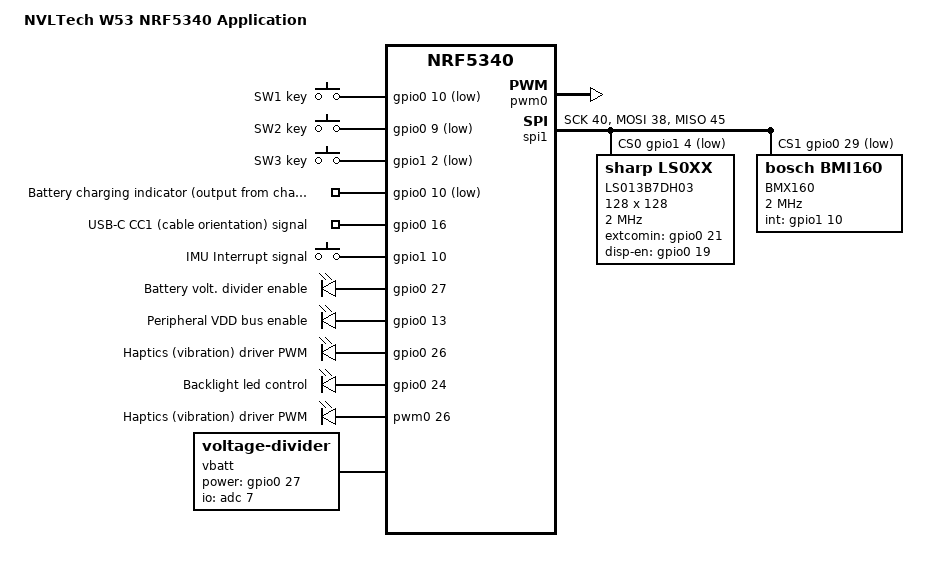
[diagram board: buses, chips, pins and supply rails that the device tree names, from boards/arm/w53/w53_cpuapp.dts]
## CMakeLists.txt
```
# Find Zephyr. This also loads Zephyr's build system.
cmake_minimum_required(VERSION 3.13.1)

list(APPEND BOARD_ROOT ${CMAKE_CURRENT_SOURCE_DIR})
set(BOARD w53_cpuapp)

find_package(Zephyr HINTS $ENV{ZEPHYR_BASE})

project(rgbwatch)

set(CMAKE_BUILD_TYPE Release)

set(APP_SRC
  src/main.c
  src/disp.c
  src/clock.c
  src/accel.c
  src/screen.c
  src/pinmux.c
  src/board.c
  src/state.c
  src/stopwatch.c
  src/countdown.c
  src/motor.c
  src/ble.c
  src/cts.c
  src/calendar.c
  src/alarm.c
  )

set(APP_INCLUDE
  include
  )

target_sources(app PRIVATE ${APP_SRC})
target_include_directories(app PRIVATE ${APP_INCLUDE})
```

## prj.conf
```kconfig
CONFIG_PINMUX=y
CONFIG_GPIO=y
CONFIG_PWM=y
CONFIG_ADC=y

CONFIG_SPI=y
# Display driver
CONFIG_DISPLAY=y
CONFIG_LS0XX=y
CONFIG_DISPLAY_LOG_LEVEL_DBG=y
# IMU driver
CONFIG_SENSOR=y
CONFIG_BMI160=y
CONFIG_BMI160_TRIGGER_NONE=y
CONFIG_BMI160_ACCEL_PMU_NORMAL=y
CONFIG_BMI160_ACCEL_RANGE_2G=y
CONFIG_BMI160_ACCEL_ODR_100=y
CONFIG_BMI160_GYRO_PMU_NORMAL=y
CONFIG_BMI160_GYRO_RANGE_2000DPS=y
CONFIG_BMI160_GYRO_ODR_100=y
CONFIG_SENSOR_LOG_LEVEL_DBG=y

CONFIG_LOG=y
CONFIG_LOG_PRINTK=y
CONFIG_LOG_DEFAULT_LEVEL=3
CONFIG_LOG_BACKEND_UART=n
CONFIG_USE_SEGGER_RTT=y
CONFIG_LOG_BACKEND_RTT=y
CONFIG_LOG_BUFFER_SIZE=16384
CONFIG_RTT_CONSOLE=y

CONFIG_UART_CONSOLE=n
CONFIG_SERIAL=n

CONFIG_BT=y
CONFIG_BT_PERIPHERAL=y
CONFIG_BT_SMP=y
CONFIG_BT_PRIVACY=y
CONFIG_BT_SIGNING=y
# CONFIG_BT_SMP_SC_ONLY=y
CONFIG_BT_SMP_SC_PAIR_ONLY=y
CONFIG_BT_TINYCRYPT_ECC=y
CONFIG_BT_MAX_PAIRED=2
CONFIG_BT_DEVICE_NAME="W53"
# Watch appearance
CONFIG_BT_DEVICE_APPEARANCE=192
# Enable the LBS service
CONFIG_BT_LBS=y
CONFIG_BT_LBS_POLL_BUTTON=y
# Needed because of mcumgr bug
# CONFIG_BT_L2CAP_TX_MTU=252
# CONFIG_BT_L2CAP_RX_MTU=252
# CONFIG_BT_RX_BUF_LEN=260

# Allow configuring conn interval by phone
CONFIG_BT_GAP_PERIPHERAL_PREF_PARAMS=y

# Allow triggering MTU exchange
CONFIG_BT_GATT_CLIENT=y

# Display library
CONFIG_HEAP_MEM_POOL_SIZE=16384
CONFIG_MAIN_STACK_SIZE=4096
CONFIG_LVGL=y
CONFIG_LV_USE_LABEL=y
CONFIG_LV_USE_BTN=y
# Kconfig option seems to have disappeared, but the theme
# is still there, maybe a bug that sneaked in.

# Hardware-specific
CONFIG_LV_Z_VDB_SIZE=16
CONFIG_LV_Z_BITS_PER_PIXEL=1
CONFIG_LV_COLOR_DEPTH_1=y
```

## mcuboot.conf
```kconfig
# Config lifted from
# ~/Software/ncs/nrf/applications/nrf_desktop/configuration/nrf52840dk_nrf52840/mcuboot_ZDebugMCUBootSMP.conf
CONFIG_SIZE_OPTIMIZATIONS=y

# Disable memory guard to avoid false faults in application after boot
CONFIG_HW_STACK_PROTECTION=n

CONFIG_SYSTEM_CLOCK_DISABLE=y
CONFIG_SYS_POWER_MANAGEMENT=n

CONFIG_BOOT_MAX_IMG_SECTORS=256
CONFIG_BOOT_BOOTSTRAP=n
CONFIG_BOOT_SIGNATURE_TYPE_ECDSA_P256=y
CONFIG_BOOT_SIGNATURE_KEY_FILE="dfu_key_p256.pem"

CONFIG_FLASH=y
CONFIG_BOOT_ERASE_PROGRESSIVELY=y
CONFIG_SOC_FLASH_NRF_EMULATE_ONE_BYTE_WRITE_ACCESS=y

CONFIG_USE_SEGGER_RTT=y
CONFIG_LOG=y
CONFIG_LOG_DEFAULT_LEVEL=2
CONFIG_LOG_MAX_LEVEL=3
CONFIG_LOG_PRINTK=y
CONFIG_LOG_MODE_IMMEDIATE=y
CONFIG_LOG_BACKEND_SHOW_COLOR=n
CONFIG_LOG_BACKEND_FORMAT_TIMESTAMP=n
```

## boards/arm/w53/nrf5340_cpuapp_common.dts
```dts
/*
 * Copyright (c) 2019-2020 Nordic Semiconductor ASA
 *
 * SPDX-License-Identifier: Apache-2.0
 */

/ {

	chosen {
		zephyr,console = &uart0;
		zephyr,shell-uart = &uart0;
		zephyr,uart-mcumgr = &uart0;
		zephyr,bt-mon-uart = &uart0;
		zephyr,bt-c2h-uart = &uart0;
		zephyr,bt-hci-rpmsg-ipc = &ipc0;
	};

};

&adc {
	status = "okay";
};

&gpiote {
	status = "okay";
};

&gpio0 {
	status = "okay";
};

&gpio1 {
	status = "okay";
};

&uart0 {
	/* Not connected to anything.
	*  Can use GPIOs P1.02 and P0.09 but shared with SW2 and SW3 */
	status = "okay";
	current-speed = <115200>;
	tx-pin = <14>;
	rx-pin = <15>;
};

&timer0 {
	status = "okay";
};

&timer1 {
	status = "okay";
};

&timer2 {
	status = "okay";
};

&flash0 {

	partitions {
		compatible = "fixed-partitions";
		#address-cells = <1>;
		#size-cells = <1>;

		boot_partition: partition@0 {
			label = "mcuboot";
			reg = <0x00000000 0x00010000>;
		};
		slot0_partition: partition@10000 {
			label = "image-0";
		};
		slot0_ns_partition: partition@50000 {
			label = "image-0-nonsecure";
		};
		slot1_partition: partition@80000 {
			label = "image-1";
		};
		slot1_ns_partition: partition@c0000 {
			label = "image-1-nonsecure";
		};
		scratch_partition: partition@f0000 {
			label = "image-scratch";
			reg = <0x000f0000 0xa000>;
		};
		storage_partition: partition@fa000 {
			label = "storage";
			reg = <0x000fa000 0x00006000>;
		};
	};
};

/ {

	reserved-memory {
		#address-cells = <1>;
		#size-cells = <1>;
		ranges;

		sram0_image: image@20000000 {
			/* Zephyr image(s) memory */
		};

		sram0_s: image_s@20000000 {
			/* Secure image memory */
		};

		sram0_ns: image_ns@20040000 {
			/* Non-Secure image memory */
		};
	};
};

/* Include partition configuration file */
#include "nrf5340_cpuapp_partition_conf.dts"
```

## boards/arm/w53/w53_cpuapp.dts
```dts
/*
 * Copyright (c) 2020 Nordic Semiconductor ASA
 *
 * SPDX-License-Identifier: Apache-2.0
 */

/dts-v1/;
#include <nordic/nrf5340_cpuapp_qkaa.dtsi>
#include "nrf5340_cpuapp_common.dts"

/ {
	model = "NVLTech W53 NRF5340 Application";
	compatible = "w53-cpuapp";

	chosen {
		zephyr,display = &ls0xx;
		zephyr,sram = &sram0_image;
		zephyr,flash = &flash0;
		zephyr,code-partition = &slot0_partition;
		zephyr,sram-secure-partition = &sram0_s;
		zephyr,sram-non-secure-partition = &sram0_ns;
	};

	buttons {
		compatible = "gpio-keys";
		button0: button_0 {
			/* Lower right */
			gpios = <&gpio0 10 (GPIO_PULL_UP | GPIO_ACTIVE_LOW)>;
			label = "SW1 key";
		};
		button1: button_1 {
			/* Upper right */
			gpios = <&gpio0 9 (GPIO_PULL_UP | GPIO_ACTIVE_LOW)>;
			label = "SW2 key";
		};
		button2: button_2 {
			/* Upper left */
			gpios = <&gpio1 2 (GPIO_PULL_UP | GPIO_ACTIVE_LOW)>;
			label = "SW3 key";
		};
	};

	board_inputs {
		/* TODO: maybe change compatible ? */
		compatible = "gpio-keys";
		chg_state: chg_state {
			gpios = <&gpio0 10 (GPIO_PULL_UP | GPIO_ACTIVE_LOW)>;
			label = "Battery charging indicator (output from charger)";
			/* Shared with SW1 */
		};
		usb_cc1: usb_cc1 {
			gpios = <&gpio0 16 GPIO_ACTIVE_HIGH>;
			label = "USB-C CC1 (cable orientation) signal";
		};
		imu_irq: imu_irq {
			gpios = <&gpio1 10 GPIO_ACTIVE_HIGH>;
			label = "IMU Interrupt signal";
		};
	};

	board_outputs {
		/* TODO: maybe change compatible ? */
		compatible = "gpio-leds";
		batmon_en: batmon_en {
			gpios = <&gpio0 27 GPIO_ACTIVE_HIGH>;
			label = "Battery volt. divider enable";
		};
		periph_en: periph_en {
			gpios = <&gpio0 13 GPIO_ACTIVE_HIGH>;
			label = "Peripheral VDD bus enable";
		};
		motor: motor {
			gpios = <&gpio0 26 GPIO_ACTIVE_HIGH>;
			label = "Haptics (vibration) driver PWM";
		};
		disp_led: disp_led {
			gpios = <&gpio0 24 GPIO_ACTIVE_HIGH>;
			label = "Backlight led control";
		};
	};

	board_pwm {
		compatible = "pwm-leds";
		hapt_pwm: hapt_pwm {
			pwms = <&pwm0 26 PWM_MSEC(20) PWM_POLARITY_INVERTED>;
			label = "Haptics (vibration) driver PWM";
		};
	};

   	vbatt {
   		compatible = "voltage-divider";
   		io-channels = <&adc 7>; /* GPIO 0:28 */
   		output-ohms = <10000>;
   		full-ohms = <(10000 + 10000)>;
   		power-gpios = <&gpio0 27 GPIO_ACTIVE_HIGH>;
   	};

	aliases {
		sw0 = &button0;
		sw1 = &button1;
		sw2 = &button2;
		usbd0 = &usbd;
	};
};

&pwm0 {
	status = "okay";
	ch0-pin = <26>;
};

&spi1 {
	compatible = "nordic,nrf-spim";
	status = "okay";
	sck-pin = <40>;				/* P1.08 */
	miso-pin = <45>;			/* P1.13 */
	mosi-pin = <38>;			/* P1.06 */

	cs-gpios = <&gpio1 4 GPIO_ACTIVE_LOW>, /* Display */
				<&gpio0 29 GPIO_ACTIVE_LOW>; /* IMU */

	ls0xx: ls0xx@0 {
		compatible = "sharp,ls0xx";
		label = "LS013B7DH03";
		spi-max-frequency = <2000000>;
		reg = <0>;
		width = <128>;
		height = <128>;
		extcomin-gpios = <&gpio0 21 GPIO_ACTIVE_HIGH>;
		extcomin-frequency = <60>;
		disp-en-gpios = <&gpio0 19 GPIO_ACTIVE_HIGH>;
	};

	bmx160@1 {
		/* BMX160 seems to be register-compatible with BMI160 */
		compatible = "bosch,bmi160";
		label = "BMX160";
		reg = <1>;
		spi-max-frequency = <2000000>;
		int-gpios = <&gpio1 10 GPIO_ACTIVE_HIGH>;
	};
};

&usbd {
	compatible = "nordic,nrf-usbd";
	/* status = "okay"; */
};
```

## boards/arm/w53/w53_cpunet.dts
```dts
/*
 * Copyright (c) 2020 Nordic Semiconductor ASA
 *
 * SPDX-License-Identifier: Apache-2.0
 */

/dts-v1/;
#include <nordic/nrf5340_cpunet_qkaa.dtsi>

/ {
	model = "NVLTech W53 NRF5340 Network";
	compatible = "w53-cpunet";

	chosen {
		zephyr,console = &uart0;
		zephyr,shell-uart = &uart0;
		zephyr,uart-mcumgr = &uart0;
		zephyr,bt-mon-uart = &uart0;
		zephyr,bt-c2h-uart = &uart0;
		zephyr,bt-hci-rpmsg-ipc = &ipc0;
		zephyr,sram = &sram1;
		zephyr,flash = &flash1;
		zephyr,code-partition = &slot0_partition;
	};
};

&gpiote {
	status = "okay";
};

&gpio0 {
	status = "okay";
};

&gpio1 {
	status = "okay";
};

&uart0 {
	/* Not connected to anything, just here so samples don't freak out. */
	status = "okay";
	current-speed = <115200>;
	tx-pin = <4>;
	rx-pin = <5>;
	rts-pin = <6>;
	cts-pin = <7>;
};

&timer0 {
	status = "okay";
};

&timer1 {
	status = "okay";
};

&timer2 {
	status = "okay";
};

&flash1 {

	partitions {
		compatible = "fixed-partitions";
		#address-cells = <1>;
		#size-cells = <1>;

		boot_partition: partition@0 {
			label = "mcuboot";
			reg = <0x00000000 0xc000>;
		};
		slot0_partition: partition@c000 {
			label = "image-0";
			reg = <0x0000C000 0x12000>;
		};
		slot1_partition: partition@1e000 {
			label = "image-1";
			reg = <0x0001E000 0x12000>;
		};
		scratch_partition: partition@30000 {
			label = "image-scratch";
			reg = <0x00030000 0xa000>;
		};
		storage_partition: partition@3a000 {
			label = "storage";
			reg = <0x0003a000 0x6000>;
		};
	};
};

/* Include shared RAM configuration file */
#include "nrf5340_shared_sram_planning_conf.dts"
```

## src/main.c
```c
#include <zephyr/kernel.h>
#include <zephyr/device.h>
#include <zephyr/devicetree.h>
#include <zephyr/drivers/gpio.h>
#include <zephyr/drivers/display.h>

#include <string.h>
#include <lvgl.h>

#include "disp.h"
#include "cts.h"
#include "calendar.h"
#include "clock.h"
#include "board.h"
#include "accel.h"
#include "state.h"
#include "screen.h"
#include "ble.h"

struct g_state state;

void display_test()
{
	uint32_t count = 0U;
	char count_str[11] = {0};
	const struct device *display_dev;
	lv_obj_t *hello_world_label;
	lv_obj_t *count_label;

	display_dev = DEVICE_DT_GET(DT_CHOSEN(zephyr_display));

	if (display_dev == NULL) {
		printk("device not found.  Aborting test.");
		return;
	}

	hello_world_label = lv_label_create(lv_scr_act());

	lv_label_set_text(hello_world_label, "Hello world!");
	lv_obj_align(hello_world_label, LV_ALIGN_CENTER, 0, 0);

	count_label = lv_label_create(lv_scr_act());
	lv_obj_align(count_label, LV_ALIGN_BOTTOM_MID, 0, 0);

	lv_task_handler();
	display_blanking_off(display_dev);

	while (1) {
		if ((count % 100) == 0U) {
			sprintf(count_str, "%d", count/100U);
			lv_label_set_text(count_label, count_str);
		}
		lv_task_handler();
		k_sleep(K_MSEC(10));
		++count;
	}
}

void main(void)
{
	/* Reset global state */
	memset(&state, 0, sizeof(state));
	/* Store main thread ID */
	state.main_tid = k_current_get();

	/* Init clock module */
	clock_time_init();
	time_struct_t new_time = {12, 0, 0};
	clock_set_time(new_time);
	struct date_time new_date = {0, 0, 0, 0, 0, 0};
	cal_set_date(&new_date);


	board_gpio_setup();
	/* FIXME: will block in here */
	display_test();

	/* board_enable_vdd_ext(1); */
	ble_init();

	/* Advertise and sleep */
	ble_adv(1);
	for(;;)
	{
		__NOP();
		k_msleep(1000);
	}
	/* state.pgm_state = PGM_STATE_CLOCK; */

	/* while(1) */
	/* { */
	/* 	main_state_loop(); */
	/* } */
}
```

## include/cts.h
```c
/*
 * Copyright (c) 2021 Jonathan Rico
 *
 * SPDX-License-Identifier: Apache-2.0
 */

#ifndef __CTS_H_
#define __CTS_H_

#include <zephyr/types.h>

#include <stdbool.h>

/* Need to pack the structs to be compatible with bluetooth spec */
#ifndef __PACKED
#define __PACKED __attribute__((__packed__))
#endif

struct date_time {
	uint16_t year;
	uint8_t month;
	uint8_t day;
	uint8_t hours;
	uint8_t minutes;
	uint8_t seconds;
}__PACKED;

typedef enum {
	UNKNOWN = 0,
	MONDAY,
	TUESDAY,
	WEDNESDAY,
	THURSDAY,
	FRIDAY,
	SATURDAY,
	SUNDAY,
} day_of_week_t;

struct day_of_week {
	uint8_t day_of_week;
};

struct day_date_time {
	struct date_time date_time;
	struct day_of_week day_of_week;
}__PACKED;

struct exact_time_256 {
	struct day_date_time day_date_time;
	uint8_t fractions256; /* Number of 1/256 fractions of a second */
}__PACKED;

typedef enum {
	MANUAL_TIME_UPDATE = 0,
	EXTERNAL_REFERENCE_TIME_UPDATE,
	CHANGE_OF_TIME_ZONE,
	CHANGE_OF_DST,
} adjust_reason_t;

struct current_time {
	struct exact_time_256 exact_time_256;
	uint8_t adjust_reason;
}__PACKED;

struct current_time *bt_cts_get_current_time(void);

#endif // __CTS_H_
```

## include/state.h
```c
#ifndef __STATE_H_
#define __STATE_H_

#include <zephyr/kernel.h>

#include <stdbool.h>
#include <stdint.h>

typedef enum {
	PGM_STATE_TEST_TILT,
	PGM_STATE_CLOCK,
	PGM_STATE_CLOCK_SET,
	PGM_STATE_STOPWATCH,
	PGM_STATE_COUNTDOWN,
	PGM_STATE_ALARM,
	PGM_STATE_ALARM_RING,
	PGM_STATE_CHARGE,
	PGM_STATE_BATT,
	PGM_STATE_BLE
} pgm_state_t;

struct g_state {
	k_tid_t main_tid;	/* Main thread ID */
	pgm_state_t pgm_state;	/* Current program state */
	bool main;		/* Go back to main screen */
	bool next;		/* Go to next screen/activity */
	bool abort;	        /* Abort current procedure */
	bool motion_wake;	/* Enable/disable motion wakeup */
	uint8_t but_ll;		/* Lower left button pressed */
	uint8_t but_lr;		/* Lower right button pressed */
	uint8_t but_ur;		/* Upper right button pressed */
	/* TODO: clean this up */
};

void state_clear(void);
void main_state_set(pgm_state_t curr_state, pgm_state_t new_state);
void main_state_loop(void);
bool state_is_button_pressed(void);

#endif // __STATE_H_
```

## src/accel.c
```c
#include <zephyr/kernel.h>
#include <zephyr/device.h>
#include <zephyr/devicetree.h>
#include <zephyr/drivers/sensor.h>
#include <zephyr/drivers/gpio.h>
#include <zephyr/drivers/i2c.h>
#include "state.h"
#include "disp.h"
#include "accel.h"

__UNUSED static const struct device* sensor;
__UNUSED static const struct device* sensor_bus;
extern struct g_state state;

void acc_app_init(void);

int accel_get_mg(int32_t accel[3])
{
	return 0;
}

int accel_high_latency(bool high)
{
	struct sensor_value freq;
	if(high) {
		freq.val1 = 1;
	} else {
		freq.val1 = 50;
	}

	return 0;
}

int accel_init(void)
{
	return 0;
}

/* Imported from ledwatch project
 * TODO: Improve upstream driver someday */
static uint8_t acc_read_reg(uint8_t reg_addr)
{
	return 0;
}

static void acc_write_reg(uint8_t reg_addr, uint8_t value)
{
}

static void acc_hpf_config(uint8_t config)
{
}

static void acc_int1_sources(uint8_t sources)
{
}

static void acc_int2_sources(uint8_t sources)
{
}

static void acc_click_set(uint8_t sources, uint16_t threshold,
			  uint16_t limit_ms, uint16_t latency_ms,
			  uint16_t window_ms)
{
	//----Config----
	uint8_t oldcfg = acc_read_reg(0x38);
	sources &= 0x3F; // 6 bits
	sources |= oldcfg;
	acc_write_reg(0x38, sources); // Write tap_cfg


	//----Threshold----
	uint8_t fs = acc_read_reg(0x23);
	fs >>= 4;   // Data in MSB
	fs &= 0x03; // 2 bits

	switch(fs) {
		case ACC_FS_2G:
			threshold /= 16;
			break;
		case ACC_FS_4G:
		threshold /= 31;
			break;
		case ACC_FS_8G:
			threshold /= 63;
			break;
		case ACC_FS_16G:
			threshold /= 125;
			break;
		default:
			return;
	}

	threshold &= 0x7F; // 7 bits
	acc_write_reg(0x3A, threshold); // Write tap_thr


	//----Time parameters----
	float factor_ms;
	uint8_t rate = acc_read_reg(0x20);  // Read cfg_reg_1
	rate >>= 4;   // Data is in MSB
	rate &= 0x0F; // 4 bits

	switch(rate) {
		case ACC_RATE_1:
			factor_ms = 1000;
			break;
		case ACC_RATE_10:
			factor_ms = 100;
			break;
		case ACC_RATE_25:
			factor_ms = 40;
			break;
		case ACC_RATE_50:
			factor_ms = 20;
			break;
		case ACC_RATE_100:
			factor_ms = 10;
			break;
		case ACC_RATE_200:
			factor_ms = 5;
			break;
		case ACC_RATE_400:
			factor_ms = 2.5;
			break;
		case ACC_RATE_1250:
			factor_ms = 0.8;
			break;
		case ACC_RATE_1600_LP:
			factor_ms = 0.625;
			break;
		// case ACC_RATE_5000_LP:
		// 	factor_ms = 5;
		// 	break;
		default:
			return;
			break;
	}
	limit_ms /= factor_ms;
	latency_ms /= factor_ms;
	window_ms /= factor_ms;

	limit_ms &= 0x7F; // 7 bits
	latency_ms &= 0xFF; // 8 bits
	window_ms &= 0xFF; // 8 bits

	acc_write_reg(0x3B, limit_ms); // Write tap_limit
	acc_write_reg(0x3C, latency_ms); // Write tap_latency
	acc_write_reg(0x3D, window_ms); // Write tap_limit
}

/* App-level */
static void acc_enable_click(void)
{
	acc_click_set(TAP_ZD, // Enable Z double-tap, X and Y single-tap
		      800, // Tap-threshold is 0.3 G
		      200, // Tap detected if acc_value decreases within 180ms
		      80, // Pause 80ms before starting double-tap detection
		      100); // User has to tap again withing 100 ms to register a double-tap
	// Enable only Z-axis double-click
	acc_write_reg(0x38, TAP_ZD);
}

__UNUSED static struct gpio_callback acc_cb_data;
__UNUSED static void acc_callback(const struct device *dev,
			 struct gpio_callback *cb,
			 uint32_t pins)
{
	if(state.motion_wake)
		k_wakeup(state.main_tid); /* Wake from sleep */
}

void acc_app_init(void)
{
	/* Enable accelerometer motion app wakeup */
	state.motion_wake = 1;

	// Enable hpf on click only, fc = 1Hz @ fs=50Hz
	acc_hpf_config(HP_MODE_NORMAL | HPCLICK);
	acc_enable_click(); // Enable doubleclick detection on Z-axis

	// Tap-detection interrupt on output 1
	acc_int1_sources(I1_CLICK);
	// Orientation detection interrupt on output 2
	acc_int2_sources(I2_CLICK | I2_IG1 | I2_HLACTIVE);
}
```

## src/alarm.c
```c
#include <zephyr/kernel.h>
#include <zephyr/init.h>

#include <string.h>

#include "calendar.h"
#include "clock.h"
#include "motor.h"
#include "state.h"
#include "alarm.h"

#define PULSE_TIME_US (250*1000)
#define PULSE_TIMES 1
#define PULSE_INTERVAL K_SECONDS(2)

struct k_work alarm_work;
static alarm_struct_t alarm_time;
static bool alarm_enabled = 0;

extern struct g_state state;

struct k_timer alarm_timer;
static void alarm_timer_callback(struct k_timer *timer_id)
{
	k_work_submit(&alarm_work);
}
K_TIMER_DEFINE(alarm_timer, alarm_timer_callback, NULL);

static void ring(struct k_work *item)
{
	ARG_UNUSED(item);
	motor_pulse_single(PULSE_TIME_US, PULSE_TIMES);
}

void alarm_set(alarm_struct_t * p_alarm_time)
{
	memcpy(&alarm_time, p_alarm_time, sizeof(alarm_time));
	memcpy(&alarm_time.time_sn,
	       &p_alarm_time->time,
	       sizeof(time_struct_t));
}

void alarm_get(alarm_struct_t * p_alarm_time)
{
	memcpy(p_alarm_time, &alarm_time, sizeof(alarm_time));
}

bool alarm_check(void)
{
	if (!alarm_enabled)
		return false;

	if (!((1 << cal_get_weekday(NULL)) & alarm_time.days))
		return false;

	time_struct_t *p_time = clock_get_time_p();
	if ((p_time->hours == alarm_time.time_sn.hours &&
	     (p_time->minutes == alarm_time.time_sn.minutes))) {
		/* Show alarm screen */
		state.next = 1;
		state.pgm_state = PGM_STATE_ALARM_RING;
		/* Wake from sleep to show alarm screen and to begin
		 * ringing. */
		k_wakeup(state.main_tid);
		return true;
	}

	return false;
}

void alarm_enable(bool enable)
{
	alarm_enabled = enable;
}

bool alarm_is_enabled(void)
{
	return alarm_enabled;
}

void alarm_snooze(uint8_t minutes) {
	/* Still doesn't handle day-rollover tho */
	alarm_time.time_sn.minutes += minutes;
	if(alarm_time.time_sn.minutes >= 60) {
		alarm_time.time_sn.hours += 1;
		alarm_time.time_sn.minutes -= 60;
	}

	/* Cut the power to the motor */
	k_timer_stop(&alarm_timer);
}

void alarm_stop() {
	/* Reset snooze-adjusted alarm time */
	memcpy(&alarm_time.time_sn,
	       &alarm_time.time,
	       sizeof(time_struct_t));

	/* Cut the power to the motor */
	k_timer_stop(&alarm_timer);
}

void alarm_start(void) {
	/* Ring alarm (motor) */
	k_work_submit(&alarm_work);
	k_timer_start(&alarm_timer, PULSE_INTERVAL, PULSE_INTERVAL);
}

static int alarm_init(const struct device *dev) {
	k_work_init(&alarm_work, ring);

	return 0;
}
SYS_INIT(alarm_init, APPLICATION, CONFIG_APPLICATION_INIT_PRIORITY);
```

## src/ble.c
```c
#include <zephyr/kernel.h>
#include "disp.h"
#include "board.h"
#include "state.h"

#include <zephyr/bluetooth/bluetooth.h>
#include <zephyr/bluetooth/hci.h>
#include <zephyr/bluetooth/conn.h>
#include <zephyr/bluetooth/uuid.h>
#include <zephyr/bluetooth/gatt.h>

#include <bluetooth/services/lbs.h>

#define DEVICE_NAME             CONFIG_BT_DEVICE_NAME
#define DEVICE_NAME_LEN         (sizeof(DEVICE_NAME) - 1)

extern struct g_state state;
struct bt_conn * master_conn = NULL;

static const struct bt_data ad[] = {
	BT_DATA_BYTES(BT_DATA_FLAGS, (BT_LE_AD_GENERAL | BT_LE_AD_NO_BREDR)),
	BT_DATA(BT_DATA_NAME_COMPLETE, DEVICE_NAME, DEVICE_NAME_LEN),
};

static const struct bt_data sd[] = {
	BT_DATA_BYTES(BT_DATA_UUID128_ALL, BT_UUID_LBS_VAL),
};

void gatt_mtu_cb(struct bt_conn *conn, uint8_t err,
		 struct bt_gatt_exchange_params *params)
{
	/* Do nothing */
}

static void connected(struct bt_conn *conn, uint8_t err)
{
	static struct bt_gatt_exchange_params gatt_mtu_params;

	if (err) {
		printk("Connection failed (err %u)\n", err);
		return;
	}

	master_conn = conn;
	printk("Connected\n");

	board_enable_5v(1);
	display_clear();
	display_string("conn", 0, 50);
	board_enable_5v(0);

	/* Exchange MTU to be able to transfer CTS characteristic
	 * in one go. */
	gatt_mtu_params.func = gatt_mtu_cb;
	bt_gatt_exchange_mtu(conn, &gatt_mtu_params);

	/* TODO: re-enable whe it works reliably */
	/* if (bt_conn_set_security(conn, BT_SECURITY_L4)) { */
	/* 	printk("Failed to set security\n"); */
	/* } */
}

static void disconnected(struct bt_conn *conn, uint8_t reason)
{
	printk("Disconnected (reason %u)\n", reason);

	master_conn = NULL;

	board_enable_5v(1);
	display_clear();
	display_string("disc", 0, 50);
	board_enable_5v(0);
}

static void identity_resolved(struct bt_conn *conn, const bt_addr_le_t *rpa,
			      const bt_addr_le_t *identity)
{
	char addr_identity[BT_ADDR_LE_STR_LEN];
	char addr_rpa[BT_ADDR_LE_STR_LEN];

	bt_addr_le_to_str(identity, addr_identity, sizeof(addr_identity));
	bt_addr_le_to_str(rpa, addr_rpa, sizeof(addr_rpa));

	printk("Identity resolved %s -> %s\n", addr_rpa, addr_identity);
}

static void security_changed(struct bt_conn *conn, bt_security_t level,
			     enum bt_security_err err)
{
	char addr[BT_ADDR_LE_STR_LEN];

	bt_addr_le_to_str(bt_conn_get_dst(conn), addr, sizeof(addr));

	if (!err) {
		printk("Security changed: %s level %u\n", addr, level);
		board_enable_5v(1);
		display_clear();
		display_string("encrypted", 0, 50);
		board_enable_5v(0);
	} else {
		printk("Security failed: %s level %u err %d\n", addr, level,
		       err);
	}
}

static struct bt_conn_cb conn_callbacks = {
	.connected        = connected,
	.disconnected     = disconnected,
	.identity_resolved = identity_resolved,
	.security_changed = security_changed,
};

static struct bt_conn_auth_cb conn_auth_callbacks;

/* TODO: remove LBS */
static void app_led_cb(bool led_state)
{
	board_enable_5v(1);
	display_clear();
	if(led_state)
		display_string("on", 0, 50);
	else
		display_string("off", 0, 50);
	board_enable_5v(0);
}

static bool app_button_cb(void)
{
	uint8_t ret = state.but_ur;
	state.but_ur = 0;
	return (bool)ret;
}

static struct bt_lbs_cb lbs_callbacs = {
	.led_cb    = app_led_cb,
	.button_cb = app_button_cb,
};

static void auth_passkey_display(struct bt_conn *conn, unsigned int passkey)
{
	char addr[BT_ADDR_LE_STR_LEN];

	bt_addr_le_to_str(bt_conn_get_dst(conn), addr, sizeof(addr));

	printk("Passkey for %s: %06u\n", addr, passkey);

	board_enable_5v(1);
	display_clear();
	display_string("passkey", 0, 50);
	uint32_t high = passkey / 10000;
	uint32_t mid = (passkey / 100) - (high * 100);
	uint32_t low = passkey - ((passkey / 100) * 100);
	display_bcd(high, mid, low, 0);
}

static void auth_cancel(struct bt_conn *conn)
{
	char addr[BT_ADDR_LE_STR_LEN];

	bt_addr_le_to_str(bt_conn_get_dst(conn), addr, sizeof(addr));

	printk("Pairing cancelled: %s\n", addr);

	board_enable_5v(1);
	display_string("auth cancel", 0, 50);
	board_enable_5v(0);
}

static void pairing_complete(struct bt_conn *conn, bool bonded)
{
	printk("Pairing Complete\n");
	board_enable_5v(1);
	display_string("auth complete", 0, 50);
	board_enable_5v(0);
}

static void pairing_failed(struct bt_conn *conn, enum bt_security_err reason)
{
	printk("Pairing Failed (%d). Disconnecting.\n", reason);
	/* TODO: re-enable when it works reliably */
	/* bt_conn_disconnect(conn, BT_HCI_ERR_AUTH_FAIL); */
	board_enable_5v(1);
	display_string("auth failed", 0, 50);
	board_enable_5v(0);
}

static struct bt_conn_auth_cb auth_cb_display = {
	.passkey_display = auth_passkey_display,
	.passkey_entry = NULL,
	.cancel = auth_cancel,
};

static struct bt_conn_auth_info_cb auth_info_cb_display = {
	.pairing_complete = pairing_complete,
	.pairing_failed = pairing_failed,
};

int ble_init(void)
{
	int err;

	bt_conn_auth_cb_register(&auth_cb_display);
	bt_conn_auth_info_cb_register(&auth_info_cb_display);
	bt_conn_cb_register(&conn_callbacks);
	if (IS_ENABLED(CONFIG_BT_LBS_SECURITY_ENABLED)) {
		bt_conn_auth_cb_register(&conn_auth_callbacks);
	}

	err = bt_enable(NULL);
	if (err) {
		printk("Bluetooth init failed (err %d)\n", err);
		return err;
	}

	printk("Bluetooth initialized\n");

	err = bt_lbs_init(&lbs_callbacs);
	if (err) {
		printk("Failed to init LBS (err:%d)\n", err);
		return err;
	}

	return err;
}

#define BT_LE_ADV_CUSTOM                                                       \
	BT_LE_ADV_PARAM(BT_LE_ADV_OPT_CONNECTABLE, \
			BT_GAP_ADV_SLOW_INT_MIN, BT_GAP_ADV_SLOW_INT_MAX,      \
			NULL)

int ble_adv(bool enable)
{
	int err = 0;

	if(enable)
	{
		err = bt_le_adv_start(BT_LE_ADV_CUSTOM, ad, ARRAY_SIZE(ad),
				      sd, ARRAY_SIZE(sd));
		if (err) {
			printk("Advertising failed to start (err %d)\n", err);
			return err;
		}

		printk("Advertising successfully started\n");
	}
	else {
		err = bt_le_adv_stop();
		if (err) {
			printk("Advertising failed to stop (err %d)\n", err);
			return err;
		}
	}

	return err;
}

int ble_update_param(void)
{
	if (!master_conn) {
		return -1;
	}

	const struct bt_le_conn_param param = { /* 500ms */
						.interval_min = 400,
						/* 2s */
						.interval_max = 1600,
						.latency = 0,
						/* 8s */
						.timeout = 800
	};
	return bt_conn_le_param_update(master_conn, &param);
}
```

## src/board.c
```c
#include <zephyr/kernel.h>
#include <zephyr/device.h>
#include <zephyr/devicetree.h>
#include <zephyr/drivers/gpio.h>

#include "board.h"
#include "state.h"
#include "disp.h"
#include "clock.h"
#include "accel.h"
#include "motor.h"

#define SW_0_PIN     DT_PHA(DT_ALIAS(sw0), gpios, pin) /* Lower left */
#define SW_1_PIN     DT_PHA(DT_ALIAS(sw1), gpios, pin) /* Lower right */
#define SW_2_PIN     DT_PHA(DT_ALIAS(sw2), gpios, pin) /* Upper right */
#define BATT_NODE    DT_NODELABEL(batmon_en)
#define BATT_PIN     DT_GPIO_PIN(BATT_NODE, gpios)
#define MOTOR_NODE   DT_NODELABEL(motor)
#define MOTOR_PIN    DT_GPIO_PIN(MOTOR_NODE, gpios)
#define PERIPH_CTL_NODE   DT_NODELABEL(periph_en)
#define PERIPH_CTL	DT_GPIO_PIN(PERIPH_CTL_NODE, gpios)

#define DEBOUNCE_MS  100
#define HOLD_MS      1000
#define PULSE_TIME_US (50*1000)

extern struct g_state state;

void board_suspend(void)
{
	/* Kill display power */
	display_clear();
	board_enable_5v(0);

	/* Reduce sensor power */
	/* Cannot do this if motion wakeup is enabled
	 * since HP filter is calibrated for 50Hz
	 * TODO: make this configurable */
	/* accel_high_latency(1); */

	/* Put clock counter into high-latency mode */
	clock_set_high_latency(1);

	/* Put CPU to sleep until interrupted */
	k_sleep(K_FOREVER);

	/* Restore sensor power */
	/* accel_high_latency(0); */

	/* Put clock counter into low-latency mode */
	clock_set_high_latency(0);

	/* Restore display power */
	board_enable_5v(1);
	display_clear();
}

static void process_button_presses(uint32_t pins, bool long_press)
{
	k_wakeup(state.main_tid); /* Wake from sleep */
	if (pins & (1 << SW_0_PIN))
	{
		if(long_press) {
			state.but_ll = 2;
			/* Go to main screen immediately */
			state.main = 1;
			state.next = 1;
			state.abort = 1;
			clock_thread_unblock();
		}
		else {
			state.but_ll = 1;
			state.abort = 1;
			state.next = 1;
			clock_thread_unblock();
		}
	}
	if (pins & (1 << SW_1_PIN))
	{
		if(long_press) {
			state.but_lr = 2;
		}
		else {
			state.but_lr = 1;
		}
	}
	if (pins & (1 << SW_2_PIN))
	{
		if(long_press) {
			state.but_ur = 2;
		}
		else {
			state.but_ur = 1;
			state.abort = 1;
		}
	}
}

static void button_timer_callback(struct k_timer *timer_id);
K_TIMER_DEFINE(button_timer, button_timer_callback, NULL);

/* Pushbutton state-machine */
enum pb_states {
	IDLE = 0,
	START,			/* Initial pulses */
	HOLD,			/* User is long-pressing */
	STOP,			/* Trailing pulses */
};

static uint32_t pb_state = IDLE;
static uint32_t last_pins = 0;
static void button_timer_callback(struct k_timer *timer_id)
{
	gpio_port_value_t port_val = 0;
	const struct device *dev;

	/* All pushbuttons are on the same port */

	dev = DEVICE_DT_GET(DT_PHANDLE(DT_ALIAS(sw0), gpios));
	gpio_port_get(dev, &port_val);

	if(pb_state == START) {
		if(port_val) {
			pb_state = HOLD;
			k_timer_start(&button_timer, K_MSEC(HOLD_MS), K_NO_WAIT);
		} else {
			pb_state = IDLE;
			process_button_presses(last_pins, false);
		}
	} else if (pb_state == HOLD) {
		process_button_presses(last_pins, true);
	} else if (pb_state == STOP) {
		pb_state = IDLE;
	}
}

static void button_callback(const struct device *dev, struct gpio_callback *cb,
			    uint32_t pins)
{
	if(pb_state == IDLE) {
		pb_state = START;
		last_pins = pins;
		k_timer_start(&button_timer, K_MSEC(DEBOUNCE_MS), K_NO_WAIT);
	} else if (pb_state == HOLD) {
		if(k_timer_remaining_get(&button_timer)) {
			process_button_presses(last_pins, false);
		}
		pb_state = STOP;
		k_timer_start(&button_timer, K_MSEC(DEBOUNCE_MS), K_NO_WAIT);
	}
}

static struct gpio_callback button_cb_data;
static void setup_buttons(void)
{
	const struct device *button;
	button = DEVICE_DT_GET(DT_PHANDLE(DT_ALIAS(sw0), gpios));

	gpio_pin_configure(button,
			   SW_0_PIN,
			   DT_PHA(DT_ALIAS(sw0), gpios, flags));

	gpio_pin_interrupt_configure(button,
				     SW_0_PIN,
				     GPIO_INT_EDGE_BOTH);

	gpio_pin_configure(button,
			   SW_1_PIN,
			   DT_PHA(DT_ALIAS(sw1), gpios, flags));

	gpio_pin_interrupt_configure(button,
				     SW_1_PIN,
				     GPIO_INT_EDGE_BOTH);

	gpio_pin_configure(button,
			   SW_2_PIN,
			   DT_PHA(DT_ALIAS(sw2), gpios, flags));

	gpio_pin_interrupt_configure(button,
				     SW_2_PIN,
				     GPIO_INT_EDGE_BOTH);

	gpio_init_callback(&button_cb_data,
			   button_callback,
			   BIT(SW_0_PIN) | BIT(SW_1_PIN) | BIT(SW_2_PIN));

	gpio_add_callback(button, &button_cb_data);
}

static void setup_batt(void)
{
	const struct device *batt;

	batt = DEVICE_DT_GET(DT_PHANDLE(BATT_NODE, gpios));
	gpio_pin_configure(batt, BATT_PIN,
			   GPIO_OUTPUT | DT_PHA(BATT_NODE, gpios, flags));
	gpio_pin_set(batt, BATT_PIN, 0);
}

static void setup_motor(void)
{
	const struct device *motor;

	motor = DEVICE_DT_GET(DT_PHANDLE(MOTOR_NODE, gpios));
	gpio_pin_configure(motor, MOTOR_PIN,
			   GPIO_OUTPUT | DT_PHA(MOTOR_NODE, gpios, flags));
	gpio_pin_set(motor, MOTOR_PIN, 0);

	/* Setup PWM after setting up GPIO fallback */
	motor_init();
}

void board_gpio_setup(void)
{
	setup_buttons();
	setup_batt();
	setup_motor();
}

void board_enable_5v(bool enable)
{
}

void board_enable_vdd_ext(bool enable)
{
	/* const struct device *dev; */

	/* uint64_t gpio = NRF_DT_GPIOS_TO_PSEL(COEX_NODE, pri_dir_gpios); */
	/* dev = device_get_binding(DT_GPIO_LABEL(PERIPH_CTL_NODE, gpios)); */
	/* gpio_pin_configure(dev, */
	/* 				   PERIPH_CTL, */
	/* 				   GPIO_OUTPUT_ACTIVE | DT_GPIO_FLAGS(PERIPH_CTL_NODE, gpios)); */

	/* gpio_pin_set(dev, PERIPH_CTL, enable); */

	/* TODO: use Zephyr API instead */
	NRF_P0->DIRSET = 1<<13;
	NRF_P0->OUTSET = 1<<13;
}
```

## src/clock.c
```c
#include <zephyr/kernel.h>

#include <stdint.h>
#include <stddef.h>

#include "calendar.h"
#include "alarm.h"
#include "clock.h"

time_struct_t currentTime;

static uint32_t clock_period_s = 1;

K_SEM_DEFINE(wait_on_tick, 0, 1);

struct k_timer clock_timer;
static void clock_timer_callback(struct k_timer *timer_id)
{
	clock_increment_seconds(clock_period_s);
	k_sem_give(&wait_on_tick);
}

K_TIMER_DEFINE(clock_timer, clock_timer_callback, NULL);

void clock_thread_sync(void)
{
	k_sem_take(&wait_on_tick, K_FOREVER);
}

void clock_thread_unblock(void)
{
	k_sem_give(&wait_on_tick);
}

void clock_set_high_latency(bool latency)
{
	if(latency) {
		/* Switch to 60s latency */
		k_timer_status_sync(&clock_timer);
		clock_period_s = 60;
		k_timer_start(&clock_timer,
			      K_SECONDS(clock_period_s),
			      K_SECONDS(clock_period_s));
	}
	else {
		/* Recover remaining time */
		uint32_t rem_sec = k_timer_remaining_get(&clock_timer) / 1000;
		clock_increment_seconds(60 - rem_sec);
		/* Switch to 1s latency */
		clock_period_s = 1;
		k_timer_start(&clock_timer,
			      K_SECONDS(clock_period_s),
			      K_SECONDS(clock_period_s));
	}
}

void clock_time_init()
{
	currentTime.hours   = 12;
	currentTime.minutes = 00;
	currentTime.seconds = 00;

	k_timer_start(&clock_timer, K_SECONDS(1), K_SECONDS(1));
}

time_struct_t* clock_get_time_p()
{
	return (time_struct_t*)(&currentTime);
}

void clock_set_time(time_struct_t newTime)
{
	currentTime.hours   = newTime.hours;
	currentTime.minutes = newTime.minutes;
	currentTime.seconds = newTime.seconds;
}

void clock_increment_seconds(uint32_t seconds)
{
	for(; seconds>0; seconds--) {
		currentTime.seconds++;
		if(currentTime.seconds == 60)
		{
			currentTime.minutes++;
			currentTime.seconds = 0;

			if(currentTime.minutes == 60)
			{
				currentTime.hours++;
				currentTime.minutes = 0;
			}
			if(currentTime.hours == 24) {
				currentTime.hours = 0;
				cal_increment_day();
			}

			alarm_check();
		}
	}
}
```

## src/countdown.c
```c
#include <zephyr/kernel.h>
#include <zephyr/init.h>

#include <string.h>

#include "clock.h"		/* For time_struct_t */
#include "motor.h"
#include "countdown.h"

#define PULSE_TIME_MS 500
static cd_timer_state_t state = CD_TIMER_STOPPED;
struct k_timer cd_timer;
static void (*user_callback)(void);
struct k_work cd_timer_work;

static uint32_t time_to_s(time_struct_t* p_time)
{
	uint32_t time_s =
		(p_time->seconds) +
		(p_time->minutes * 60) +
		(p_time->hours * 60 * 60);

	return time_s;
}

/* Order of expressions matters */
#pragma GCC optimize("O0")
static void s_to_time(uint32_t seconds, time_struct_t* p_time)
{
	p_time->hours = seconds / (60 * 60);
	seconds -= p_time->hours * 60 * 60;

	p_time->minutes = seconds / 60;
	seconds -= p_time->minutes * 60;

	p_time->seconds = seconds;
}

static void cd_timer_callback(struct k_timer *timer_id)
{
	/* Call user-supplied callback */
	if(user_callback) {
		user_callback();
	}
	k_work_submit(&cd_timer_work);
	cd_timer_stop();
}

K_TIMER_DEFINE(cd_timer, cd_timer_callback, NULL);

static void alert_user(struct k_work *item)
{
	ARG_UNUSED(item);
	motor_pulse_single(PULSE_TIME_MS * 1000, 2);
}

void cd_timer_thread_sync(void)
{
	k_timer_status_sync(&cd_timer);
}

void cd_timer_start(time_struct_t* p_time)
{
	/* Start timer */
	k_timer_start(&cd_timer, K_SECONDS(time_to_s(p_time)), K_NO_WAIT);
	state = CD_TIMER_STARTED;
}

void cd_timer_stop(void)
{
	k_timer_stop(&cd_timer);
	state = CD_TIMER_STOPPED;
}

void cd_timer_remaining_get(time_struct_t* p_time)
{
	uint32_t rem_sec = k_timer_remaining_get(&cd_timer) / 1000;
	s_to_time(rem_sec, p_time);
}

void cd_timer_expiry_register_fn(void (*callback_fn)(void))
{
	if(callback_fn) {
		user_callback = callback_fn;
	}
}

cd_timer_state_t cd_timer_state_get(void)
{
	return state;
}

static int cd_timer_init(const struct device *dev)
{
	ARG_UNUSED(dev);
	k_work_init(&cd_timer_work, alert_user);

	return 0;
}

SYS_INIT(cd_timer_init, APPLICATION, CONFIG_APPLICATION_INIT_PRIORITY);
```

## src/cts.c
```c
/** @file
 *  @brief GATT Current Time Service
 */

/*
 * Copyright (c) 2021 Jonathan Rico
 *
 * SPDX-License-Identifier: Apache-2.0
 */

#include <zephyr/kernel.h>
#include <zephyr/init.h>
#include <zephyr/types.h>

#include <zephyr/bluetooth/bluetooth.h>
#include <zephyr/bluetooth/conn.h>
#include <zephyr/bluetooth/gatt.h>
#include <zephyr/bluetooth/uuid.h>

#include <stdbool.h>

#include "cts.h"
#include "clock.h"
#include "calendar.h"

#define LOG_LEVEL CONFIG_BT_CTS_LOG_LEVEL
#include <zephyr/logging/log.h>
LOG_MODULE_REGISTER(cts);

#define CTS_NOTIFY_STACK_SIZE 500
#define CTS_NOTIFY_PRIORITY 5

static void cts_notify_entry_point(void *p1, void *p2, void *p3);
K_THREAD_DEFINE(cts_notify_tid, CTS_NOTIFY_STACK_SIZE,
                cts_notify_entry_point, NULL, NULL, NULL,
                CTS_NOTIFY_PRIORITY, 0, 0);

static struct current_time current_local_time;

static void apply_current_time(void);

static void cts_ccc_cfg_changed(const struct bt_gatt_attr *attr, uint16_t value)
{
	ARG_UNUSED(attr);

	bool notif_enabled = (value == BT_GATT_CCC_NOTIFY);

	if (notif_enabled) {
		k_thread_resume(cts_notify_tid);
	} else {
		k_thread_suspend(cts_notify_tid);
	}

	LOG_INF("CTS Notifications %s", notif_enabled ? "enabled" : "disabled");
}

static ssize_t read_current_time(struct bt_conn *conn,
				 const struct bt_gatt_attr *attr, void *buf,
				 uint16_t len, uint16_t offset)
{
	LOG_INF("Read attribute");
	/* Read values from clock */
	bt_cts_get_current_time();
	return bt_gatt_attr_read(conn, attr, buf, len, offset,
				 &current_local_time,
				 sizeof(current_local_time));
}

static ssize_t write_current_time(struct bt_conn *conn,
				  const struct bt_gatt_attr *attr,
				  const void *buf, uint16_t len,
				  uint16_t offset, uint8_t flags)
{
	LOG_INF("Write attribute");

	/* TODO: check data read */
	memcpy(&current_local_time, buf, len);
	apply_current_time();

	return 0;
}

BT_GATT_SERVICE_DEFINE(
	cts, BT_GATT_PRIMARY_SERVICE(BT_UUID_CTS),
	BT_GATT_CHARACTERISTIC(BT_UUID_CTS_CURRENT_TIME,
			       BT_GATT_CHRC_READ | BT_GATT_CHRC_NOTIFY |
				       BT_GATT_CHRC_WRITE,
			       BT_GATT_PERM_READ | BT_GATT_CHRC_WRITE,
			       read_current_time, write_current_time,
			       &current_local_time),
	BT_GATT_CCC(cts_ccc_cfg_changed,
		    BT_GATT_PERM_READ | BT_GATT_PERM_WRITE), );

static int cts_init(const struct device *dev)
{
	ARG_UNUSED(dev);

	memset(&current_local_time, 0, sizeof(current_local_time));

	return 0;
}

struct current_time *bt_cts_get_current_time(void)
{
	time_struct_t * p_time = clock_get_time_p();
	struct date_time* p_date = cal_get_date_ptr();
	day_of_week_t day = cal_get_weekday(p_date);

	/* Copy time section */
	memcpy(&current_local_time.exact_time_256.day_date_time.date_time.hours,
	       p_time, sizeof(time_struct_t));

	/* Copy date section */
	memcpy(&current_local_time.exact_time_256.day_date_time.date_time,
	       p_date, sizeof(uint16_t) + sizeof(uint8_t) + sizeof(uint8_t));

	current_local_time.exact_time_256.day_date_time.
		day_of_week.day_of_week = day;

	return &current_local_time;
}

static void apply_current_time(void)
{
	time_struct_t new_time;
	struct date_time new_date;

	/* Write new time */
	memcpy(&new_time,
	       &current_local_time.exact_time_256.day_date_time.date_time.hours,
	       sizeof(new_time));
	clock_set_time(new_time);

	/* Write new date */
	memcpy(&new_date,
	       &current_local_time.exact_time_256.day_date_time.date_time,
	       sizeof(uint16_t) + sizeof(uint8_t) + sizeof(uint8_t));
	cal_set_date(&new_date);
}

SYS_INIT(cts_init, APPLICATION, CONFIG_APPLICATION_INIT_PRIORITY);

/* Notification thread pulls data from clock module */
static void cts_notify_entry_point(void *p1, void *p2, void *p3) {
	ARG_UNUSED(p1);
	ARG_UNUSED(p2);
	ARG_UNUSED(p3);

	/* Disable notifications on startup */
	k_thread_suspend(k_current_get());

	while(1)
	{
		/* Wait for next internal time update */
		clock_thread_sync();
		/* Copy into local structure */
		bt_cts_get_current_time();
		/* GATT notify */
		bt_gatt_notify(NULL, &cts.attrs[1],
			&current_local_time,
			sizeof(current_local_time));
	}
}
```

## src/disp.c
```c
#include <zephyr/kernel.h>

#include <stdint.h>
#include <stddef.h>
#include <string.h>

#include "disp.h"
#include "alphabet.h"
#include "state.h"

typedef struct
{
	bool pending;
	uint8_t fx_type;
	bool dir;
	uint32_t time;
} fade_next_t;

static uint8_t display[4];
static uint8_t disp_color[3];
extern struct g_state state;
static fade_next_t fade;

static bool s_pixel_here(uint8_t col, uint8_t line)
{
	return (bool)((display[line] >> col) & 1);
}

uint16_t reverse_bits(uint16_t word, uint16_t length) {
	// Bitwise bit reversal function
	uint16_t r = 0; // Contains reversed word
	uint16_t i;

	if(length == 8)
		word &= 0xFF;
	else
		word &= (1<<length) - 1;

	for (i = length - 1; i > 0; i--)
	{
		r |= word & 0x01;
		r <<= 1;
		word >>= 1;
	}
	r |= word & 0x01;

	return r;
}

void display_init() {
	// Display state
	display[0] = 0x00; // Top
	display[1] = 0x00; // Bottom
	display[2] = 0x00; // Middle
	display[3] = 0xFF; // Intensity
}

/* Uses disp_color[] global variable */
void display_mono_led(uint8_t intensity, uint32_t led_pos)
{
	ARG_UNUSED(intensity);
	ARG_UNUSED(led_pos);
}

void display_mono_set_color(uint8_t red, uint8_t green, uint8_t blue)
{
	disp_color[0] = red;
	disp_color[1] = green;
	disp_color[2] = blue;
}

void display_refresh()
{
	uint32_t disp_word = display[0]
		+ (reverse_bits(display[1], 8) << 8)
		+ (display[2] << 16);

	if(fade.pending)
	{
		fade.pending = 0;

		if(fade.fx_type==DISP_FX_SLIDE)
			display_animate_slide(fade.dir, fade.time);

		if((fade.fx_type==DISP_FX_FADE) && (fade.dir==DISP_FX_DIR_IN))
			display_fade(fade.dir, fade.time);
	}

	for(int i=0; i<24; i++)
	{
		if(disp_word & 1)
			display_mono_led(display[3], i);
		disp_word >>= 1;
	}
}

void display_clear() {
	display[3] = 255;

	if(fade.pending)
	{
		fade.pending = 0;

		if(fade.fx_type==DISP_FX_SLIDE)
			display_animate_slide(fade.dir, fade.time);

		if((fade.fx_type==DISP_FX_FADE) && (fade.dir==DISP_FX_DIR_OUT))
			display_fade(fade.dir, fade.time);
	}
	else
	{
	}

	display[0] = 0;
	display[1] = 0;
	display[2] = 0;
}

void display_write_matrix(uint8_t p_matrix[8][3], bool fade, bool clear_state)
{
	static uint8_t active[8][3] = {0};

	if(clear_state)
		memset(active, 0, sizeof(active));

	/* First row */
	for(int j=0; j<8; j++)
	{
		if(!active[j][0])
			active[j][0] = p_matrix[j][0];

		if((fade) && (active[j][0]) && (s_pixel_here(j, 0)))
			display_mono_led(255, j);
		else
			display_mono_led(p_matrix[j][0], j);
	}
	/* Second row (flipped) */
	for(int j=0; j<8; j++)
	{
		if(!active[j][1])
			active[j][1] = p_matrix[j][1];

		if((fade) && (active[j][1]) && (s_pixel_here(j, 1)))
			display_mono_led(255, 15-j);
		else
			display_mono_led(p_matrix[j][0], 15-j);
	}
	/* Last row */
	for(int j=0; j<8; j++)
	{
		if(!active[j][2])
			active[j][2] = p_matrix[j][2];

		if((fade) && (active[j][2]) && (s_pixel_here(j, 2)))
			display_mono_led(255, j+16);
		else
			display_mono_led(p_matrix[j][0], j+16);
	}
}

void display_bytes(int top, int mid, int bot, uint16_t time_ms) {
	display[0] = top & 0xFF;
	display[1] = mid & 0xFF;
	display[2] = bot & 0xFF;

	display_refresh();
	if(!time_ms) return;
	k_msleep(time_ms);
	display_clear();
}

void display_bcd(uint16_t top, uint16_t mid, uint16_t bot, uint16_t time_ms) {
	if(top>99) return;
	if(mid>99) return;
	if(bot>99) return;
	display[0] = ((top/10)<<4) + (top%10);
	display[1] = ((mid/10)<<4) + (mid%10);
	display[2] = ((bot/10)<<4) + (bot%10);

	display_refresh();
	if(!time_ms) return;
	k_msleep(time_ms);
	display_clear();
}

void display_number(uint16_t num, uint16_t time_ms) {
	if(num>99) return;
	display[0] = numbers[0][num % 10] + (numbers[0][num / 10]<<5);
	display[1] = numbers[1][num % 10] + (numbers[1][num / 10]<<5);
	display[2] = numbers[2][num % 10] + (numbers[2][num / 10]<<5);

	display_refresh();
	if(!time_ms) return;
	k_msleep(time_ms);
	display_clear();
}

void display_string(char* string, uint16_t repeat, uint16_t scrollspeed) {
	uint16_t i = 0;
	uint16_t j = 0;
	char currentChar = 0;

	/* TODO: figure out a cleaner way to do this */
	/* This resets the abort state so the user has to press
	 * the abort button once again during the display.
	 * Without this, the caller has to reset the state before
	 * calling this fn. */
	state.abort = 0;

	repeat++;
	while(repeat != 0) {
		repeat--;
		i = 0;
		j = 0;

		for(;string[j] != 0;j++) {

			currentChar = string[j];
			if(currentChar >= 'A' && currentChar <= 'Z') {
				/* Convert upper case to lower case */
				currentChar += 'a' - 'A';
			} else if(currentChar == ' ') {
				currentChar = 0x7B;
			} else if (currentChar >= '0' && currentChar <= '9') {
				/* Do nothing */
			} else if (currentChar < 'a' || currentChar > 'z') {
				/* Convert any other char to a dash */
				currentChar = 0x7C;
			}

			for(i=5;i>0;i--) {
				display[0] = (display[0]<<1);
				display[1] = (display[1]<<1);
				display[2] = (display[2]<<1);

				if(currentChar >= '0' && currentChar <= '9') {
					/* Handle numbers */
					display[0] += (numbers[0][currentChar - '0']>>(i-1)) & 1;
					display[1] += (numbers[1][currentChar - '0']>>(i-1)) & 1;
					display[2] += (numbers[2][currentChar - '0']>>(i-1)) & 1;
				} else {
					/* Handle letters */
					display[0] += (letters[0][currentChar - 'a']>>i) & 1;
					display[1] += (letters[1][currentChar - 'a']>>i) & 1;
					display[2] += (letters[2][currentChar - 'a']>>i) & 1;
				}
				display_refresh();
				k_msleep(scrollspeed);
				if(state.abort) return;
			}
		}

		for(j=2;j>0;j--) {
			currentChar = 0x7B;
			for(i=5;i>0;i--) {
				display[0] = (display[0]<<1);
				display[1] = (display[1]<<1);
				display[2] = (display[2]<<1);

				if(currentChar >= '0' && currentChar <= '9') {
					/* Handle numbers */
					display[0] += (numbers[0][currentChar - '0']>>(i-1)) & 1;
					display[1] += (numbers[1][currentChar - '0']>>(i-1)) & 1;
					display[2] += (numbers[2][currentChar - '0']>>(i-1)) & 1;
				} else {
					/* Handle letters */
					display[0] += (letters[0][currentChar - 'a']>>i) & 1;
					display[1] += (letters[1][currentChar - 'a']>>i) & 1;
					display[2] += (letters[2][currentChar - 'a']>>i) & 1;
				}
				display_refresh();
				k_msleep(scrollspeed);
				if(state.abort) return;
			}
		}
	}
}

void display_fade(bool dir, uint32_t fade_time)
{
	for(uint32_t i=0; i < fade_time; i++)
	{
		if(dir==DISP_FX_DIR_IN) /* Fade in */
			display[3] = (uint8_t)((255 * i) / fade_time);
		else
			display[3] = (uint8_t)(255 - ((255 * i) / fade_time));

		display_refresh();
		k_msleep(1);
	}

	display[3] = 255;
}

void display_fade_next(bool dir, uint32_t fade_time, uint8_t fx_type)
{
	fade.pending = 1;
	fade.dir = dir;
	fade.time = fade_time;
	fade.fx_type = fx_type;
}

void display_animate_slide(bool dir, uint32_t time)
{
	static uint8_t matrix[8][3] = {{0}};
	uint32_t idx = 0;

	time /= 16;

	if(dir == DISP_FX_DIR_LEFT)
	{
		/* Update first row */
		matrix[0][0] = 255;
		matrix[0][1] = 255;
		matrix[0][2] = 255;
		display_write_matrix(matrix, 1, 1);

		for(int j=1; j < 16; j++)
		{
			k_msleep(time);

			/* Head */
			if(j<8)
			{
				idx = j;
				matrix[idx][0] = 255;
				matrix[idx][1] = 255;
				matrix[idx][2] = 255;
			}
			/* Tail fade */
			else
			{
				if(matrix[idx][0] > 31)
				{
					matrix[idx][0] -= 31;
					matrix[idx][1] -= 31;
					matrix[idx][2] -= 31;
				}
			}

			/* Update previous rows */
			for(int k = idx-1; k>=0; k--)
			{
				if(matrix[k][0] > 31)
				{
					matrix[k][0] = matrix[k+1][0] - 31;
					matrix[k][1] = matrix[k+1][1] - 31;
					matrix[k][2] = matrix[k+1][2] - 31;
				}
				else
				{
					matrix[k][0] = 0;
					matrix[k][1] = 0;
					matrix[k][2] = 0;
				}
			}

			/* Update display */
			display_write_matrix(matrix, 1, 0);
		}
	}
	else
	{
		/* Update first row */
		matrix[7][0] = 255;
		matrix[7][1] = 255;
		matrix[7][2] = 255;
		display_write_matrix(matrix, 1, 1);

		for(int j=14; j >= 0; j--)
		{
			k_msleep(time);

			/* Head */
			if(j>7)
			{
				idx = j-8;
				matrix[idx][0] = 255;
				matrix[idx][1] = 255;
				matrix[idx][2] = 255;
			}

			/* Tail fade */
			else
			{
				if(matrix[idx][0] > 31)
				{
					matrix[idx][0] -= 31;
					matrix[idx][1] -= 31;
					matrix[idx][2] -= 31;
				}
			}

			/* Update previous rows */
			for(int k = idx+1; k<8; k++)
			{
				if(matrix[k][0] > 31)
				{
					matrix[k][0] = matrix[k-1][0] - 31;
					matrix[k][1] = matrix[k-1][1] - 31;
					matrix[k][2] = matrix[k-1][2] - 31;
				}
				else
				{
					matrix[k][0] = 0;
					matrix[k][1] = 0;
					matrix[k][2] = 0;
				}
			}

			/* Update display */
			display_write_matrix(matrix, 1, 0);
		}
	}
	display_clear();
}
```

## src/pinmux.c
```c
#include <zephyr/kernel.h>
#include <zephyr/device.h>
#include <zephyr/init.h>
#include <zephyr/devicetree.h>
#include <zephyr/drivers/gpio.h>

#include "board.h"

static int pinmux_w53_init(const struct device *port)
{
	ARG_UNUSED(port);

	board_enable_vdd_ext(1);

	return 0;
}

SYS_INIT(pinmux_w53_init, PRE_KERNEL_1, 0);
```
